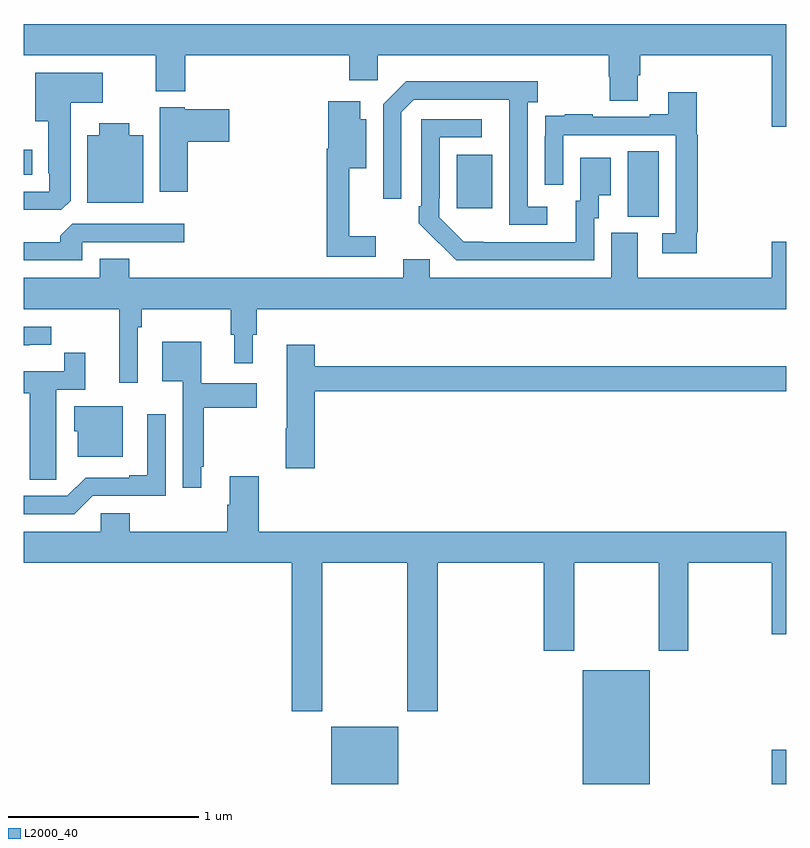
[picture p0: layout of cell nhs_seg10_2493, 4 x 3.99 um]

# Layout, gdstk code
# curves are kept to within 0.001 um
import gdstk
lib = gdstk.Library(unit=1e-6, precision=1e-09)
def R(c, l, rs):  # rectangles x0, y0, x1, y1
    for r in rs: c.add(gdstk.rectangle(r[:2], r[2:], *l))
def P(c, l, *ps):  # polygons
    for p in ps: c.add(gdstk.Polygon(p, *l))
L2000_40 = (2000, 40)

nhs_seg10_2493 = lib.new_cell('nhs_seg10_2493')
R(nhs_seg10_2493, L2000_40, [(246.614,1288.5,246.964,1288.801), (247.934,1288.5,248.284,1289.098), (248.924,1288.5,249,1288.681), (248.168,1291.477,248.332,1291.82), (247.271,1291.521,247.459,1291.801), (245,1291.697,245.044,1291.828)])
P(nhs_seg10_2493, L2000_40, [(249,1292.488),(245,1292.488),(245,1292.324),(245.693,1292.324),(245.693,1292.135),(245.846,1292.135),(245.846,1292.324),(246.707,1292.324),(246.707,1292.193),(246.858,1292.193),(246.858,1292.324),(248.069,1292.324),(248.069,1292.211),(248.074,1292.211),(248.074,1292.086),(248.221,1292.086),(248.221,1292.218),(248.234,1292.218),(248.234,1292.324),(248.924,1292.324),(248.924,1291.95),(249,1291.95)],
  [(245.245,1291.561),(245.245,1292.075),(245.413,1292.075),(245.413,1292.233),(245.06,1292.233),(245.06,1291.979),(245.129,1291.979),(245.129,1291.705),(245.133,1291.705),(245.133,1291.608),(245,1291.608),(245,1291.512),(245.196,1291.512)],
  [(247.747,1291.53),(247.644,1291.53),(247.644,1292.078),(247.696,1292.078),(247.696,1292.188),(247.006,1292.188),(246.885,1292.067),(246.885,1291.572),(246.981,1291.572),(246.981,1292.025),(247.047,1292.091),(247.548,1292.091),(247.548,1291.434),(247.747,1291.434)],
  [(248.53,1291.396),(248.537,1291.396),(248.537,1291.908),(248.53,1291.908),(248.53,1292.131),(248.381,1292.131),(248.381,1292.014),(248.285,1292.014),(248.285,1292.001),(247.985,1292.001),(247.985,1292.014),(247.837,1292.014),(247.837,1292.007),(247.735,1292.007),(247.735,1291.898),(247.734,1291.898),(247.734,1291.644),(247.83,1291.644),(247.83,1291.905),(248.421,1291.905),(248.421,1291.389),(248.349,1291.389),(248.349,1291.284),(248.53,1291.284)],
  [(246.847,1291.375),(246.707,1291.375),(246.707,1291.73),(246.796,1291.73),(246.796,1291.987),(246.766,1291.987),(246.766,1292.083),(246.596,1292.083),(246.596,1291.834),(246.589,1291.834),(246.589,1291.266),(246.847,1291.266)],
  [(245.861,1291.871),(246.079,1291.871),(246.079,1292.041),(245.844,1292.041),(245.844,1292.05),(245.714,1292.05),(245.714,1291.608),(245.861,1291.608)],
  [(247.992,1291.47),(248.017,1291.47),(248.017,1291.589),(248.08,1291.589),(248.08,1291.786),(247.919,1291.786),(247.919,1291.56),(247.895,1291.56),(247.895,1291.344),(247.308,1291.345),(247.179,1291.473),(247.179,1291.573),(247.182,1291.573),(247.182,1291.893),(247.402,1291.893),(247.402,1291.989),(247.086,1291.989),(247.086,1291.531),(247.071,1291.531),(247.071,1291.443),(247.268,1291.248),(247.992,1291.248)],
  [(245.626,1291.903),(245.554,1291.903),(245.554,1291.966),(245.396,1291.966),(245.396,1291.903),(245.333,1291.903),(245.333,1291.55),(245.626,1291.55)],
  [(245.307,1291.344),(245.842,1291.344),(245.842,1291.44),(245.253,1291.44),(245.192,1291.378),(245.192,1291.344),(245,1291.344),(245,1291.248),(245.307,1291.248)],
  [(245.598,1290.896),(245.618,1290.896),(245.618,1290.992),(246.085,1290.992),(246.085,1290.858),(246.104,1290.858),(246.104,1290.708),(246.202,1290.708),(246.202,1290.858),(246.221,1290.858),(246.221,1290.992),(249,1290.992),(249,1291.345),(248.924,1291.345),(248.924,1291.156),(248.221,1291.156),(248.221,1291.392),(248.081,1291.392),(248.081,1291.156),(247.131,1291.156),(247.131,1291.254),(246.992,1291.254),(246.992,1291.156),(245.552,1291.156),(245.552,1291.255),(245.399,1291.255),(245.399,1291.156),(245,1291.156),(245,1290.992),(245.501,1290.992),(245.501,1290.606),(245.598,1290.606)],
  [(245.03,1290.804),(245.143,1290.804),(245.143,1290.9),(245,1290.9),(245,1290.803),(245.03,1290.803)],
  [(245.932,1290.166),(245.944,1290.166),(245.944,1290.475),(246.223,1290.475),(246.223,1290.604),(245.932,1290.604),(245.932,1290.82),(245.726,1290.82),(245.726,1290.614),(245.835,1290.614),(245.835,1290.054),(245.932,1290.054)],
  [(246.527,1290.562),(249,1290.562),(249,1290.691),(246.527,1290.691),(246.527,1290.805),(246.38,1290.805),(246.38,1290.368),(246.373,1290.368),(246.373,1290.156),(246.527,1290.156)],
  [(245.169,1290.208),(245.17,1290.208),(245.17,1290.57),(245.321,1290.57),(245.321,1290.763),(245.212,1290.763),(245.212,1290.666),(245,1290.666),(245,1290.55),(245.03,1290.55),(245.03,1290.097),(245.169,1290.097)],
  [(245.518,1290.481),(245.264,1290.481),(245.264,1290.351),(245.282,1290.351),(245.282,1290.218),(245.518,1290.218)],
  [(245.361,1290.012),(245.745,1290.012),(245.745,1290.439),(245.648,1290.439),(245.648,1290.121),(245.552,1290.121),(245.552,1290.108),(245.325,1290.108),(245.229,1290.012),(245,1290.012),(245,1289.916),(245.265,1289.916)],
  [(246.567,1289.66),(247.012,1289.66),(247.012,1288.881),(247.172,1288.881),(247.172,1289.66),(247.727,1289.66),(247.727,1289.199),(247.887,1289.199),(247.887,1289.66),(248.332,1289.66),(248.332,1289.199),(248.487,1289.199),(248.487,1289.66),(248.924,1289.66),(248.924,1289.286),(249,1289.286),(249,1289.824),(246.233,1289.824),(246.233,1290.115),(246.08,1290.115),(246.08,1289.966),(246.068,1289.966),(246.068,1289.824),(245.555,1289.824),(245.555,1289.922),(245.403,1289.922),(245.403,1289.824),(245,1289.824),(245,1289.66),(246.407,1289.66),(246.407,1288.881),(246.567,1288.881)])

lib.write_gds('nhs_seg10_2493.gds')
